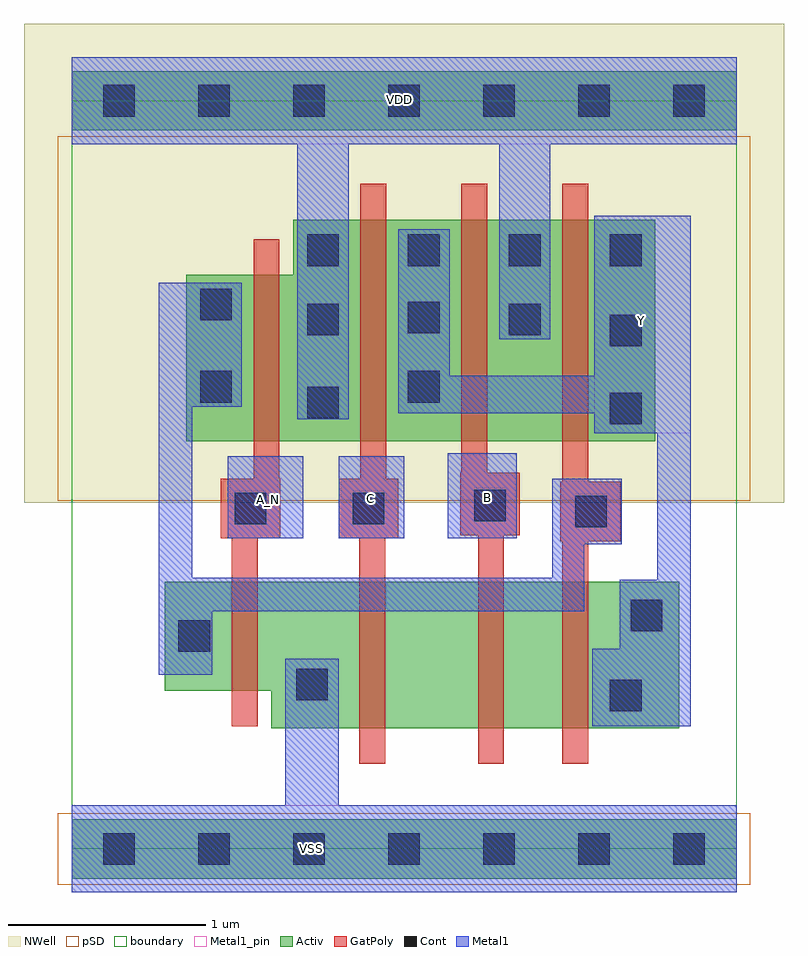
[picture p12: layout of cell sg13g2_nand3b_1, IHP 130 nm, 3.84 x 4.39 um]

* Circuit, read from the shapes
.subckt sg13g2_nand3b_1 A_N B C VDD VSS Y
XM1 VSS A_N n1 VSS sg13_lv_nmos w=0.55u l=0.13u
XM2 n2 C VSS VSS sg13_lv_nmos w=0.74u l=0.13u
XM3 n3 B n2 VSS sg13_lv_nmos w=0.74u l=0.13u
XM4 Y n1 n3 VSS sg13_lv_nmos w=0.74u l=0.13u
XM5 VDD A_N n1 VDD sg13_lv_pmos w=0.84u l=0.13u
XM6 Y C VDD VDD sg13_lv_pmos w=1.12u l=0.13u
XM7 VDD B Y VDD sg13_lv_pmos w=1.12u l=0.13u
XM8 Y n1 VDD VDD sg13_lv_pmos w=1.12u l=0.13u
.ends

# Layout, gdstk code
import gdstk
lib = gdstk.Library(unit=1e-6, precision=1e-09)
def R(c, l, rs):  # rectangles x0, y0, x1, y1
    for r in rs: c.add(gdstk.rectangle(r[:2], r[2:], *l))
def A(c, l, x, y, w, h, nx, ny, dx, dy):  # array of equal rectangles
    R(c, l, [(x+i*dx, y+j*dy, x+i*dx+w, y+j*dy+h) for i in range(nx) for j in range(ny)])
def P(c, l, *ps):  # polygons
    for p in ps: c.add(gdstk.Polygon(p, *l))
Activ = (1, 0)
GatPoly = (5, 0)
Cont = (6, 0)
Metal1 = (8, 0)
Metal1_pin = (8, 2)
pSD = (14, 0)
NWell = (31, 0)
boundary = (189, 4)

sg13g2_nand3b_1 = lib.new_cell('sg13g2_nand3b_1')
R(sg13g2_nand3b_1, Activ, [(0,-0.15,3.36,0.15), (0,3.63,3.36,3.93)])
P(sg13g2_nand3b_1, Activ, [(1.01,0.61),(1.01,0.8),(0.47,0.8),(0.47,1.35),(3.07,1.35),(3.07,0.61)],
  [(0.58,2.06),(0.58,2.9),(1.12,2.9),(1.12,3.18),(2.95,3.18),(2.95,2.06)])
P(sg13g2_nand3b_1, GatPoly, [(2.48,0.43),(2.48,1.555),(2.47,1.555),(2.47,1.855),(2.48,1.855),(2.48,3.36),(2.61,3.36),(2.61,1.855),(2.775,1.855),(2.775,1.555),(2.61,1.555),(2.61,0.43)],
  [(0.81,0.62),(0.81,1.57),(0.755,1.57),(0.755,1.87),(0.92,1.87),(0.92,3.08),(1.05,3.08),(1.05,1.87),(1.055,1.87),(1.055,1.57),(0.94,1.57),(0.94,0.62)],
  [(1.455,0.43),(1.455,1.57),(1.35,1.57),(1.35,1.87),(1.46,1.87),(1.46,3.36),(1.59,3.36),(1.59,1.87),(1.65,1.87),(1.65,1.57),(1.585,1.57),(1.585,0.43)],
  [(2.055,0.43),(2.055,1.585),(1.965,1.585),(1.965,1.9),(1.97,1.9),(1.97,3.36),(2.1,3.36),(2.1,1.9),(2.265,1.9),(2.265,1.585),(2.185,1.585),(2.185,0.43)])
A(sg13g2_nand3b_1, Cont, 1.19, 2.945, 0.16, 0.16, 4, 1, 0.51, 0)
R(sg13g2_nand3b_1, Cont, [(0.16,-0.08,0.32,0.08), (0.16,-0.08,0.32,0.08), (0.16,-0.08,0.32,0.08), (0.64,-0.08,0.8,0.08), (0.64,-0.08,0.8,0.08), (1.12,-0.08,1.28,0.08), (1.12,-0.08,1.28,0.08), (1.6,-0.08,1.76,0.08), (1.6,-0.08,1.76,0.08), (2.08,-0.08,2.24,0.08), (2.08,-0.08,2.24,0.08), (2.56,-0.08,2.72,0.08), (2.56,-0.08,2.72,0.08), (3.04,-0.08,3.2,0.08), (3.04,-0.08,3.2,0.08), (2.72,0.695,2.88,0.855), (1.135,0.75,1.295,0.91), (0.54,0.995,0.7,1.155), (2.825,1.1,2.985,1.26), (2.545,1.625,2.705,1.785), (0.825,1.64,0.985,1.8), (1.42,1.64,1.58,1.8), (2.035,1.655,2.195,1.815), (2.72,2.145,2.88,2.305), (1.19,2.175,1.35,2.335), (0.65,2.255,0.81,2.415), (1.7,2.255,1.86,2.415), (2.72,2.54,2.88,2.7), (1.19,2.595,1.35,2.755), (2.21,2.595,2.37,2.755), (1.7,2.605,1.86,2.765), (0.65,2.67,0.81,2.83), (0.16,3.7,0.32,3.86), (0.16,3.7,0.32,3.86), (0.16,3.7,0.32,3.86), (0.64,3.7,0.8,3.86), (0.64,3.7,0.8,3.86), (1.12,3.7,1.28,3.86), (1.12,3.7,1.28,3.86), (1.6,3.7,1.76,3.86), (1.6,3.7,1.76,3.86), (2.08,3.7,2.24,3.86), (2.08,3.7,2.24,3.86), (2.56,3.7,2.72,3.86), (2.56,3.7,2.72,3.86), (3.04,3.7,3.2,3.86), (3.04,3.7,3.2,3.86)])
R(sg13g2_nand3b_1, Metal1, [(0.79,1.57,1.17,1.985), (1.35,1.57,1.68,1.985), (1.9,1.57,2.25,2)])
P(sg13g2_nand3b_1, Metal1, [(2.63,0.62),(2.63,1.01),(2.77,1.01),(2.77,1.36),(2.96,1.36),(2.96,2.1),(2.64,2.1),(2.64,2.2),(1.65,2.2),(1.65,3.13),(1.91,3.13),(1.91,2.39),(2.64,2.39),(2.64,3.2),(3.13,3.2),(3.13,0.62)],
  [(1.14,2.17),(1.14,3.56),(0,3.56),(0,4),(3.36,4),(3.36,3.56),(2.42,3.56),(2.42,2.575),(2.16,2.575),(2.16,3.56),(1.4,3.56),(1.4,2.17)],
  [(0,-0.22),(0,0.22),(1.08,0.22),(1.08,0.96),(1.35,0.96),(1.35,0.22),(3.36,0.22),(3.36,-0.22)],
  [(0.44,0.88),(0.44,2.86),(0.86,2.86),(0.86,2.235),(0.61,2.235),(0.61,1.37),(2.43,1.37),(2.43,1.87),(2.78,1.87),(2.78,1.54),(2.59,1.54),(2.59,1.2),(0.71,1.2),(0.71,0.88)])
R(sg13g2_nand3b_1, Metal1_pin, [(0,-0.22,3.36,0.22), (0.79,1.57,1.17,1.985), (1.35,1.57,1.68,1.985), (1.9,1.57,2.25,2), (2.64,2.1,3.13,3.2), (0,3.56,3.36,4)])
R(sg13g2_nand3b_1, pSD, [(-0.07,-0.18,3.43,0.18), (-0.07,1.76,3.43,3.6)])
R(sg13g2_nand3b_1, NWell, [(-0.24,1.75,3.6,4.17)])
R(sg13g2_nand3b_1, boundary, [(0,0,3.36,3.78)])
sg13g2_nand3b_1.add(gdstk.Label('A_N', (0.995,1.765), layer=8, texttype=25))
sg13g2_nand3b_1.add(gdstk.Label('Y', (2.88,2.67), layer=8, texttype=25))
sg13g2_nand3b_1.add(gdstk.Label('VDD', (1.655,3.785), layer=8, texttype=25))
sg13g2_nand3b_1.add(gdstk.Label('VSS', (1.215,0), layer=8, texttype=25))
sg13g2_nand3b_1.add(gdstk.Label('B', (2.1,1.775), layer=8, texttype=25))
sg13g2_nand3b_1.add(gdstk.Label('C', (1.51,1.77), layer=8, texttype=25))

lib.write_gds('sg13g2_nand3b_1.gds')
